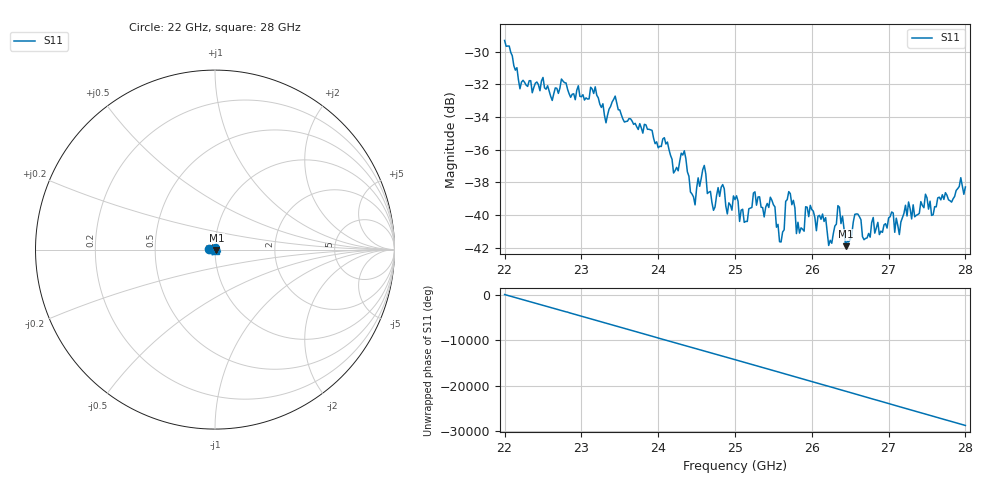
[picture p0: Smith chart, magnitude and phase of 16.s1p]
#  HZ  S  RI  R  50.00
! Rohde & Schwarz ZVA40 4Ports - Version 3.90 - 1145.1110k42 SN: 100403
! Date: 2023-10-04 10:26:01
! Measurement: S12
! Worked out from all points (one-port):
!   301 points, 22 GHz to 28 GHz, reference 50 ohm
!   lowest |S11| = -41.9 dB at 26.44 GHz (marker M1), VSWR 1.02, Z = 50.8 - j0.218 ohm
!   |S11| at or under -10 dB: start of sweep to end of sweep
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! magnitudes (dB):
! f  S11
! 22 GHz  -29.3
! 22.2 GHz  -32.3
! 22.76 GHz  -31.8
! 23.5 GHz  -33.6
! 24.26 GHz  -37.3
! 24.34 GHz  -36.1
! 24.48 GHz  -39.4
! 24.6 GHz  -37.0
! 24.72 GHz  -39.7
! 24.84 GHz  -38.1
! 25 GHz  -39.1
! 25.12 GHz  -40.4
! 25.46 GHz  -38.9
! 25.6 GHz  -41.6
! 25.66 GHz  -39.2
! 25.76 GHz  -39.1
! 25.8 GHz  -41.1
! 25.98 GHz  -39.4
! 26.22 GHz  -41.9
! 26.34 GHz  -39.4
! 26.44 GHz  -41.9
! 26.5 GHz  -41.5
! 26.58 GHz  -39.9
! 26.68 GHz  -41.5
! 27.04 GHz  -39.8
! 27.14 GHz  -41.2
! 27.26 GHz  -39.2
! 28 GHz  -38.3
